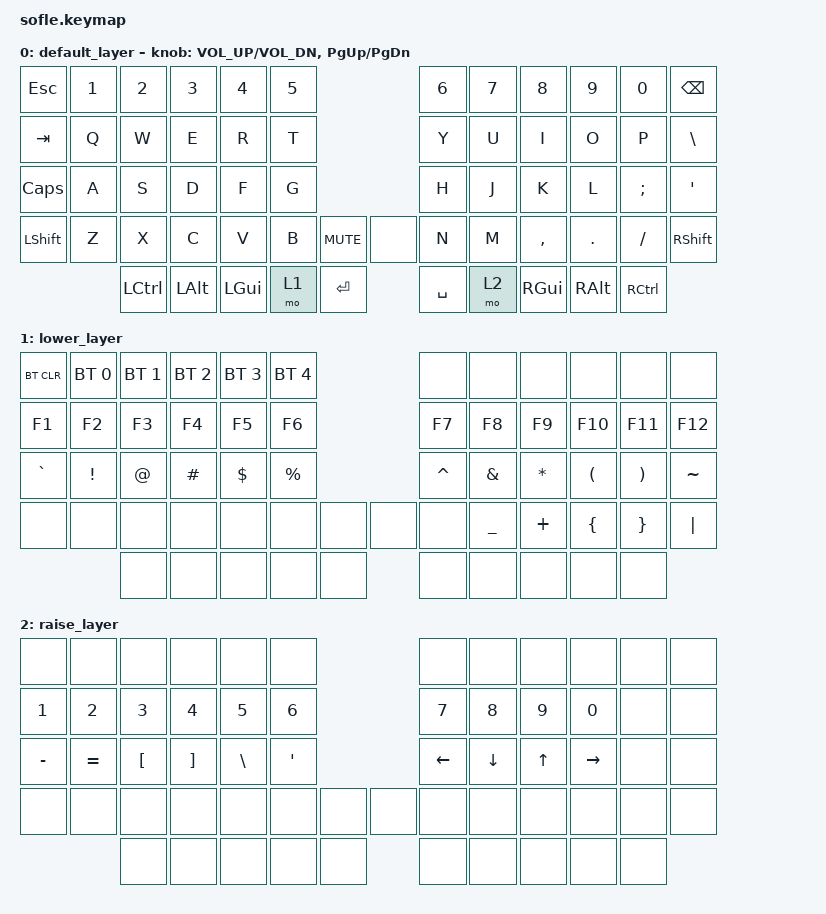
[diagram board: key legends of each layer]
#include <behaviors.dtsi>
#include <dt-bindings/zmk/keys.h>
#include <dt-bindings/zmk/bt.h>

/ {
    keymap {
        compatible = "zmk,keymap";
        default_layer {
            bindings = <
&kp ESC   &kp N1 &kp N2 &kp N3 &kp N4 &kp N5                      &kp N6 &kp N7 &kp N8 &kp N9 &kp N0 &kp BSPC
&kp TAB   &kp Q  &kp W  &kp E  &kp R  &kp T                       &kp Y  &kp U  &kp I  &kp O  &kp P  &kp BSLH
&kp CLCK  &kp A  &kp S  &kp D  &kp F  &kp G                       &kp H  &kp J  &kp K  &kp L  &kp SEMI &kp SQT
&kp LSHFT &kp Z  &kp X  &kp C  &kp V  &kp B  &kp C_MUTE &none     &kp N  &kp M  &kp COMMA &kp DOT &kp FSLH &kp RSHFT
                 &kp LCTRL &kp LALT &kp LGUI &mo 1 &kp RET &kp SPACE &mo 2 &kp RGUI &kp RALT &kp RCTRL
            >;
            sensor-bindings = <&inc_dec_kp C_VOL_UP C_VOL_DN &inc_dec_kp PG_UP PG_DN>;
        };

        lower_layer {
            bindings = <
&bt BT_CLR &bt BT_SEL 0 &bt BT_SEL 1 &bt BT_SEL 2 &bt BT_SEL 3 &bt BT_SEL 4    &none    &none     &none     &none    &none    &none
&kp F1     &kp F2       &kp F3       &kp F4       &kp F5       &kp F6          &kp F7   &kp F8    &kp F9    &kp F10  &kp F11  &kp F12
&kp GRAVE  &kp EXCL     &kp AT       &kp HASH     &kp DLLR     &kp PRCNT       &kp CARET &kp AMPS  &kp ASTRK &kp LPAR &kp RPAR &kp TILDE
&none      &none        &none        &none        &none        &none &none &none &none    &kp UNDER &kp PLUS  &kp LBRC &kp RBRC &kp PIPE
                        &none        &none        &none        &none &none &none &none    &none     &none     &none
            >;
        };

        raise_layer {
            bindings = <
&none      &none     &none     &none     &none     &none                   &none    &none    &none    &none     &none &none
&kp N1     &kp N2    &kp N3    &kp N4    &kp N5    &kp N6                  &kp N7   &kp N8   &kp N9   &kp N0    &none &none
&kp MINUS  &kp EQUAL &kp LBKT  &kp RBKT  &kp BSLH  &kp SQT                 &kp LEFT &kp DOWN &kp UP   &kp RIGHT &none &none
&none      &none     &none     &none     &none     &none &none   &none     &none    &none    &none    &none     &none &none
                     &none     &none     &none     &none &none   &none     &none    &none    &none    &none
            >;
        };
    };
};
